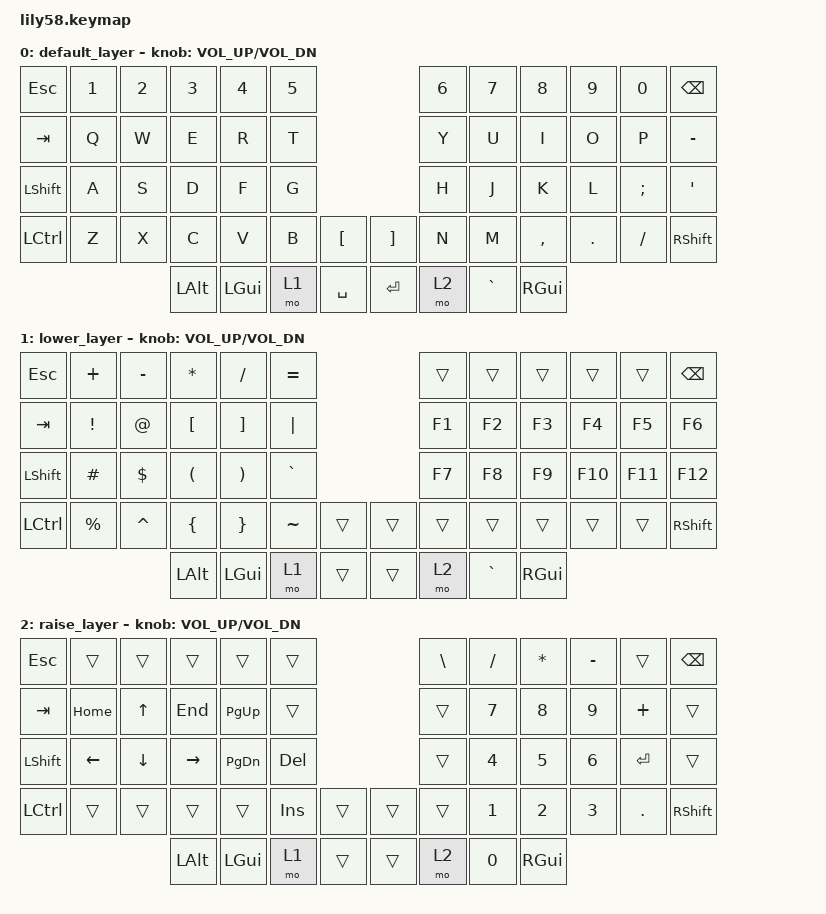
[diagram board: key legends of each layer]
#include <behaviors.dtsi>
#include <dt-bindings/zmk/keys.h>
#include <dt-bindings/zmk/bt.h>
#include <dt-bindings/zmk/ext_power.h>

/ {
    keymap {
        compatible = "zmk,keymap";

        default_layer {
// ------------------------------------------------------------------------------------------------------------
// | ESC   |  1  |  2  |  3   |  4   |  5   |                   |  6   |  7    |  8    |  9   |   0   | BSPC  |
// | TAB   |  Q  |  W  |  E   |  R   |  T   |                   |  Y   |  U    |  I    |  O   |   P   |   -   |
// | SHIFT |  A  |  S  |  D   |  F   |  G   |                   |  H   |  J    |  K    |  L   |   ;   |   '   |
// | CTRL  |  Z  |  X  |  C   |  V   |  B   |   "["  |  |  "]"  |  N   |  M    |  ,    |  .   |   /   | SHIFT |
//                     | ALT  | GUI  | LOWER|  SPACE |  | ENTER | RAISE|  `    | GUI   |
            bindings = <
&kp ESC    &kp N1 &kp N2 &kp N3   &kp N4   &kp N5                     &kp N6 &kp N7    &kp N8    &kp N9  &kp N0   &kp BSPC
&kp TAB    &kp Q  &kp W  &kp E    &kp R    &kp T                      &kp Y  &kp U     &kp I     &kp O   &kp P    &kp MINUS
&kp LSHIFT &kp A  &kp S  &kp D    &kp F    &kp G                      &kp H  &kp J     &kp K     &kp L   &kp SEMI &kp SQT
&kp LCTRL  &kp Z  &kp X  &kp C    &kp V    &kp B  &kp LBKT   &kp RBKT &kp N  &kp M     &kp COMMA &kp DOT &kp FSLH &kp RSHFT
                         &kp LALT &kp LGUI &mo 1  &kp SPACE  &kp RET  &mo 2  &kp GRAVE &kp RGUI
            >;

            sensor-bindings = <&inc_dec_kp C_VOL_UP C_VOL_DN>;
        };

        lower_layer {
// --------------------------------------------------------------------------------------------------------------
// |  ESC   |  +  |  -  |  *   |  /   |  =   |                   |      |       |       |      |       |  BSPC |
// |  TAB   |  !  |  @  |  [   |  ]   | "|"  |                   |  F1  |  F2   |  F3   |  F4  |  F5   |  F6   |
// |  SHIFT |  #  |  $  |  (   |  )   |  `   |                   |  F7  |  F8   |  F9   |  F10 |  F11  |  F12  |
// |  CTRL  |  %  |  ^  |  {   |  }   |  ~   |        |  |       |      |       |       |      |       | SHIFT |
//                      | ALT  | GUI  | LOWER|        |  |       | RAISE|   `   |  GUI  |
            bindings = <
&kp ESC    &kp PLUS  &kp MINUS &kp ASTRK &kp FSLH  &kp EQUAL                 &trans    &trans    &trans    &trans    &trans    &kp BSPC
&kp TAB    &kp EXCL  &kp AT    &kp LBKT  &kp RBKT  &kp PIPE                  &kp F1    &kp F2    &kp F3    &kp F4    &kp F5    &kp F6
&kp LSHIFT &kp HASH  &kp DLLR  &kp LPAR  &kp RPAR  &kp GRAVE                 &kp F7    &kp F8    &kp F9    &kp F10   &kp F11   &kp F12
&kp LCTRL  &kp PRCNT &kp CARET &kp LBRC  &kp RBRC  &kp TILDE &trans  &trans  &trans    &trans    &trans    &trans    &trans    &kp RSHFT
                               &kp LALT  &kp LGUI  &mo 1     &trans  &trans  &mo 2     &kp GRAVE &kp RGUI
            >;

            sensor-bindings = <&inc_dec_kp C_VOL_UP C_VOL_DN>;
        };

        raise_layer {
// ------------------------------------------------------------------------------------------------------------
// |  ESC    |      |     |     |      |      |                   |  \   |   /   |   *   |   -   |       |  BSPC |
// |  TAB    | Home |  ↑  | End | PgUp |      |                   |      |   7   |   8   |   9   |   +   |       |
// |  LSHIFT | <-   |  ↓  |  -> | PgDn |  Del |                   |      |   4   |   5   |   6   | ENTER |       |
// |  CTRL   |      |     |     |      |  Ins |        |  |       |      |   1   |   2   |   3   |   .   | SHIFT |
//                        | ALT |  GUI | LOWER|        |  |       | RAISE|   0   |  GUI  |
            bindings = <
&kp ESC    &trans   &trans   &trans    &trans    &trans                      &kp BSLH  &kp FSLH &kp ASTRK &kp MINUS &trans       &kp BSPC
&kp TAB    &kp HOME &kp UP   &kp END   &kp PG_UP &trans                      &trans    &kp N7   &kp N8    &kp N9    &kp PLUS     &trans
&kp LSHIFT &kp LEFT &kp DOWN &kp RIGHT &kp PG_DN &kp DEL                     &trans    &kp N4   &kp N5    &kp N6    &kp RET      &trans
&kp LCTRL  &trans   &trans   &trans    &trans    &kp INS  &trans    &trans   &trans    &kp N1   &kp N2    &kp N3    &kp DOT      &kp RSHFT
                             &kp LALT  &kp LGUI  &mo 1    &trans    &trans   &mo 2     &kp N0   &kp RGUI
            >;

            sensor-bindings = <&inc_dec_kp C_VOL_UP C_VOL_DN>;
        };
    };
};
